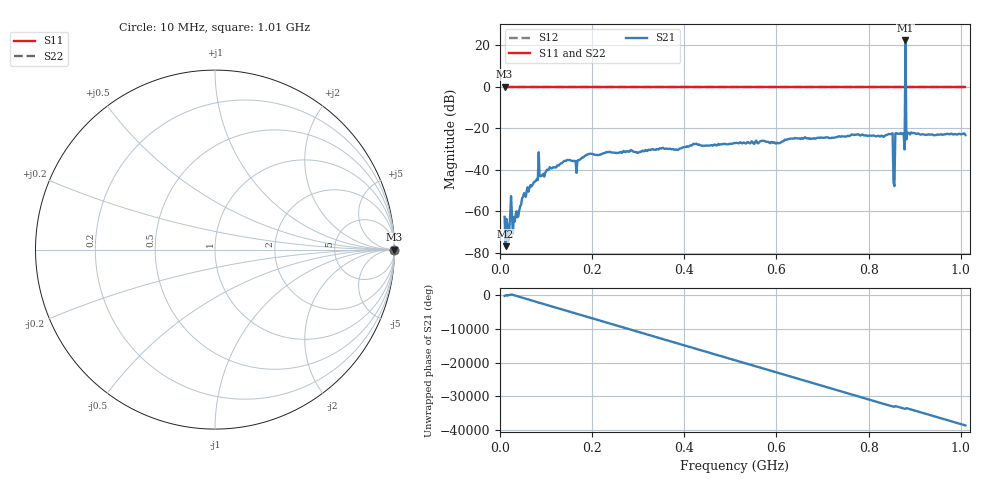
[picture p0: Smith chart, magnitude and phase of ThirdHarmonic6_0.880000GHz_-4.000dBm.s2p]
! 8/16/2025 4:59:04 AM
! C:\ANRITSUVNA\TEMP\TEMP.S2P
! CHANNEL.1
! TR.MEASUREMENT
! RAW.DATA
! RF.CORRECTION.OFF
! AVERAGING.OFF
! IF.BANDWIDTH: 5KHZ
! SWEEPTYPE:  FREQ.SWEEP(Linear)
! Reference Plane Port Info
! PORT:  PORT1  PORT2
! DISTANCE:  0  m  0  m
! TIME:  0  s  0  s
! PHASE.OFFSET:  0  deg.  0  deg.
! LOSS:  0  dB  0  dB
! REF.LOSS:  0  dB  0  dB
! REF.FREQ:  0  Hz  0  Hz
! Power Info
! POWER:  -20  dBm  -20  dBm
! EFF.POWER:  -20  dBm  -20  dBm
! SOURCE.ATTEN:  0  dB  0  dB
! TEST.ATTEN:  0  dB  0  dB
# GHZ S RI R 50.0
! FREQ.GHZ  S11RE  S11IM  S21RE  S21IM  S12RE  S12IM  S22RE  S22IM
!; PortSelection: Port_12
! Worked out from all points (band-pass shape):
!   501 points, 10 MHz to 1.01 GHz, reference 50 ohm
!   highest |S21| = 22.13 dB at 880 MHz (marker M1); lowest = -76.7 dB at 12 MHz (marker M2)
!   |S21| within 3 dB of the highest: 879.8854 MHz to 880.1262 MHz (240.8 kHz wide, 0.0274 % of centre)
!   lowest |S11| = 0.0 dB at 10 MHz (marker M3)
!   |S11| at or under -10 dB: nowhere
!   |S22| runs from 0.0 to 0.0 dB; largest |S21 - S12| = 14
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0.01  1 0  -0.000549 -0.000491  1 0  1 0
0.012  1 0  0.000142 -3.41e-05  1 0  1 0
0.016  1 0  0.000194 -0.00041  1 0  1 0
0.026  1 0  -0.000128 -0.00081  1 0  1 0
0.032  1 0  0.000557 -0.000127  1 0  1 0
0.05  1 0  0.00222 -0.000197  1 0  1 0
0.088  1 0  -0.00399 -0.00574  1 0  1 0
0.178  1 0  -0.019 -0.00454  1 0  1 0
0.344  1 0  0.0303 -0.00448  1 0  1 0
0.51  1 0  -0.0421 0.0116  1 0  1 0
0.678  1 0  -0.0165 -0.0534  1 0  1 0
0.844  1 0  0.0426 0.0589  1 0  1 0
0.848  1 0  -0.0203 -0.0694  1 0  1 0
0.852  1 0  -0.00205 0.0753  1 0  1 0
0.858  1 0  -0.066 -0.0346  1 0  1 0
0.862  1 0  0.0532 0.0527  1 0  1 0
0.874  1 0  0.0173 -0.0705  1 0  1 0
0.876  1 0  -0.0693 -0.0302  1 0  1 0
0.88  1 0  -10.79 6.836  1 0  1 0
0.884  1 0  -0.0402 -0.0659  1 0  1 0
0.886  1 0  -0.0711 0.0295  1 0  1 0
1.01  1 0  -0.063 -0.0261  1 0  1 0
